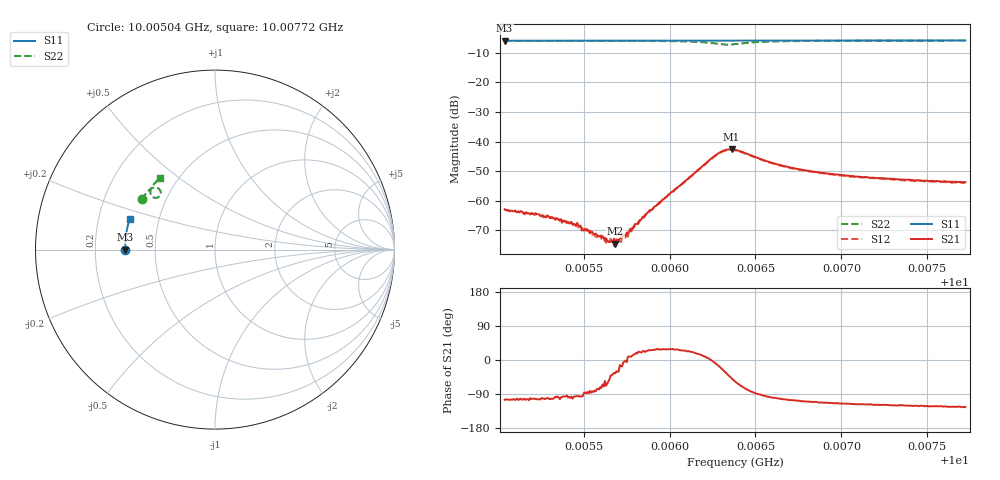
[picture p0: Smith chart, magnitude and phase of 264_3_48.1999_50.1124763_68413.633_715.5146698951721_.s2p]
#  HZ  S  RI  R  50.00
! Rohde & Schwarz Vector Network Analyzer
! Rohde-Schwarz,ZNB20-2Port,1311601062101988,3.16
! Created: UTC 3/20/2024, 11:47:54 AM
! freq[Hz]  re:S11  im:S11  re:S21  im:S21  re:S12  im:S12  re:S22  im:S22
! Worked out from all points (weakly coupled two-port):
!   401 points, 10.00504 GHz to 10.00772 GHz, reference 50 ohm
!   highest |S21| = -42.62 dB at 10.00636 GHz (marker M1); lowest = -74.5 dB at 10.00568 GHz (marker M2)
!   lowest |S11| = -6.0 dB at 10.00504 GHz (marker M3), VSWR 3.00, Z = 16.7 + j0.0134 ohm
!   |S11| at or under -10 dB: nowhere
!   |S22| runs from -7.3 to -6.0 dB; largest |S21 - S12| = 0.00043
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1.0005039e10  -0.4997 0.000301  -0.000187 -0.000694  -0.000158 -0.000701  -0.4079 0.2802
1.00053e10  -0.4999 0.0172  -0.00012 -0.000511  -7.36e-05 -0.00051  -0.3977 0.2956
1.0005468e10  -0.4999 0.0282  -3.34e-05 -0.000377  -4.05e-05 -0.000351  -0.3905 0.3058
1.0005488e10  -0.4998 0.0294  -3.33e-05 -0.000314  3.58e-06 -0.00035  -0.3896 0.307
1.0005528e10  -0.4996 0.0319  1.26e-05 -0.000313  1.08e-05 -0.000304  -0.3877 0.3094
1.0005562e10  -0.4996 0.0343  4.46e-05 -0.00027  6.37e-05 -0.000259  -0.3862 0.3113
1.0005602e10  -0.4994 0.0368  7.32e-05 -0.00025  6.91e-05 -0.000219  -0.384 0.314
1.0005636e10  -0.4996 0.0389  9.76e-05 -0.000192  8.83e-05 -0.000195  -0.3824 0.3162
1.0005683e10  -0.4992 0.0421  0.000155 -0.000109  0.00017 -7.43e-05  -0.3797 0.3188
1.000571e10  -0.4991 0.0438  0.000226 -5.4e-05  0.00018 -5.5e-05  -0.3783 0.3206
1.0005736e10  -0.499 0.0455  0.000265 -1.98e-05  0.000246 1.4e-05  -0.3768 0.3223
1.0005757e10  -0.499 0.0468  0.000286 4.33e-05  0.000246 3.28e-05  -0.3755 0.3237
1.0005857e10  -0.4984 0.0533  0.000525 0.000204  0.00053 0.000255  -0.369 0.3302
1.0005938e10  -0.4981 0.0587  0.000831 0.000432  0.000773 0.00044  -0.3624 0.3356
1.0006267e10  -0.4953 0.0797  0.00579 -0.000866  0.00568 -0.000569  -0.3048 0.3281
1.000632e10  -0.4947 0.0828  0.00614 -0.0036  0.00619 -0.00321  -0.3051 0.304
1.000636e10  -0.4945 0.0851  0.00494 -0.00551  0.0051 -0.00513  -0.3193 0.2904
1.0006381e10  -0.4942 0.0865  0.00403 -0.00605  0.00423 -0.00572  -0.3284 0.2882
1.0006636e10  -0.4923 0.1027  -0.000852 -0.004  -0.000636 -0.00393  -0.3588 0.3309
1.000683e10  -0.4899 0.1152  -0.00111 -0.00294  -0.000953 -0.00294  -0.3502 0.3504
1.000728e10  -0.4834 0.1434  -0.00115 -0.00206  -0.00102 -0.00208  -0.3275 0.3786
1.0007723e10  -0.4754 0.1708  -0.00116 -0.00171  -0.00106 -0.00172  -0.3049 0.3999
